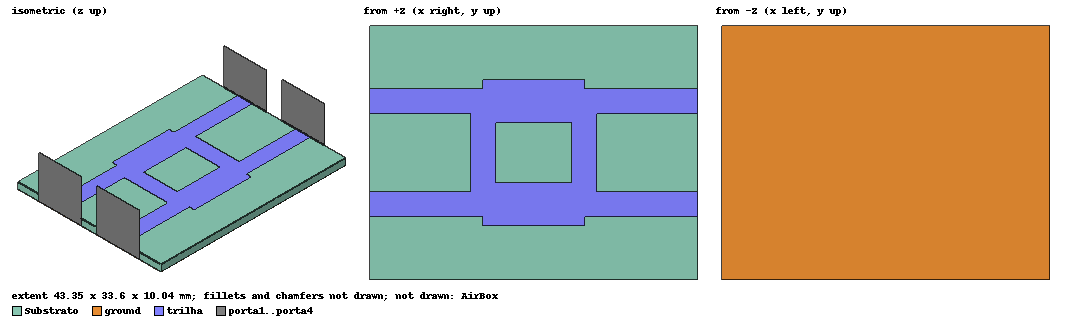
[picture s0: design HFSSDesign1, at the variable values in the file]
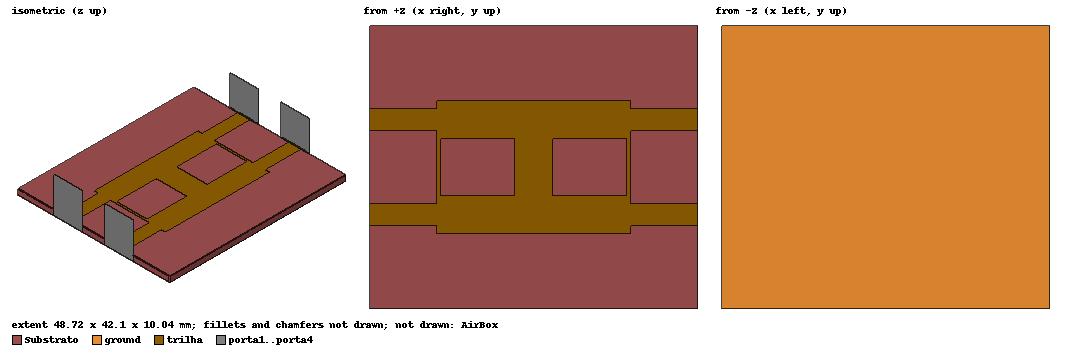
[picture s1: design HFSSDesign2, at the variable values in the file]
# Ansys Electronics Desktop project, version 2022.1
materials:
  vacuum: permittivity=1
  Rogers_3035: permittivity=3.6 permeability=1 dielectric_loss_tangent=0.0015
  copper: permeability=0.999991 conductivity=58000000

design HFSSDesign1 (HFSS, DrivenModal, model units mm)
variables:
  L_35 = 13.35mm
  L_port = 15mm
  L_50 = 13.6mm
  H_sub = 1.52mm
  T_cond = 0.035mm
  W_35 = 5.64mm
  W_50 = 3.36mm
  C_mitre = (W_35 - W_50)/2
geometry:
  Substrato [Rogers_3035] = box(corner=(-(L_35 + 2*L_port)/2, -(L_50 + 20mm)/2, 0mm), size=(L_35 + 2*L_port, L_50 + 20mm, -H_sub))
  ground [copper] = box(corner=(-(L_35 + 2*L_port)/2, -(L_50 + 20mm)/2, -H_sub), size=(L_35 + 2*L_port, L_50 + 20mm, -T_cond))
  Box1 = box(corner=(-L_35/2, L_50/2 - W_35/2, 0mm), size=(L_35, W_35, T_cond))
  Box2 = box(corner=(-L_35/2, -L_50/2 - W_35/2, 0mm), size=(L_35, W_35, T_cond))
  Box3 = box(corner=(-L_35/2 - W_50/2, -L_50/2, 0mm), size=(W_50, L_50, T_cond))
  Box4 = box(corner=(L_35/2 - W_50/2, -L_50/2, 0mm), size=(W_50, L_50, T_cond))
  Box5 = box(corner=(-L_35/2 - L_port, L_50/2 - W_50/2, 0mm), size=(L_port, W_50, T_cond))
  Box6 = box(corner=(L_35/2, L_50/2 - W_50/2, 0mm), size=(L_port, W_50, T_cond))
  Box7 = box(corner=(-L_35/2 - L_port, -L_50/2 - W_50/2, 0mm), size=(L_port, W_50, T_cond))
  trilha [copper] = box(corner=(L_35/2, -L_50/2 - W_50/2, 0mm), size=(L_port, W_50, T_cond))
  trilha.unite(Box2, Box3, Box7, Box5, Box1, Box4, Box6)
  trilha.chamfer(Edges=trilha.edge(9 of 12, 11 of 12, 12 of 12, 10 of 12) LeftDistance=C_mitre RightDistance=C_mitre ChamferType=Symmetric)
  porta1 = rectangle(corner=(-(L_35/2 + L_port), (L_50/2) - 5mm, -H_sub), y_size=10mm, z_size=10mm)
  porta2 = rectangle(corner=((L_35/2 + L_port), (L_50/2) - 5mm, -H_sub), y_size=10mm, z_size=10mm)
  porta3 = rectangle(corner=((L_35/2 + L_port), -(L_50/2) - 5mm, -H_sub), y_size=10mm, z_size=10mm)
  porta4 = rectangle(corner=(-(L_35/2 + L_port), -(L_50/2) - 5mm, -H_sub), y_size=10mm, z_size=10mm)
  AirBox [vacuum] = box(corner=(-(L_35 + 2*L_port)/2, -(L_50 + 20mm)/2, -H_sub), size=(L_35 + 2*L_port, L_50 + 20mm, 25mm))
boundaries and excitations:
  Rad1: Radiation Objects=AirBox
  PerfE2: Perfect E Objects=ground
  1: Wave Port Objects=porta1 NumModes=1 Modes{Mode1{IntLine{(-21.675, 6.8, -1.52) -> (-21.675, 6.8, 0)} CharImp=Zpi RenormImp=50ohm}}
  2: Wave Port Objects=porta4 NumModes=1 Modes{Mode1{IntLine{(-21.675, -6.8, -1.52) -> (-21.675, -6.8, 0)} CharImp=Zpi RenormImp=50ohm}}
  3: Wave Port Objects=porta2 NumModes=1 Modes{Mode1{IntLine{(21.675, 6.8, -1.52) -> (21.675, 6.8, 0)} CharImp=Zpi RenormImp=50ohm}}
  4: Wave Port Objects=porta3 NumModes=1 Modes{Mode1{IntLine{(21.675, -6.8, -1.52) -> (21.675, -6.8, 0)} CharImp=Zpi RenormImp=50ohm}}
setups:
  Setup1: HfssDriven Frequency=3.28GHz MaxDeltaS=0.02 MaximumPasses=20 MinimumPasses=1 MinimumConvergedPasses=1 PercentRefinement=30 BasisOrder=1 PortAccuracy=2 DrivenSolverType="Direct Solver"
    sweep Sweep: 2GHz to 4.5GHz step 0.01GHz; Type=Interpolating SaveFields InterpTolerance=0.5 InterpMaxSolns=250 InterpUsePortImped=false PassivityErrorTolerance=0.0001
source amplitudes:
  1:1: 1W 0deg
  2:1, 3:1, 4:1: 0W 0deg
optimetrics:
  ParametricSetup1: Parametric Sim._Setups=[Setup1]
    sweep L_35: LIN 14mm 17mm 0.5mm
    sweep L_50: LIN 14mm 17mm 0.5mm
    table edits: del(14mm, 16mm) del(14mm, 17mm) del(14.5mm, 17mm) del(15mm, 17mm) del(16mm, 14mm) del(17mm, 14mm) del(17mm, 14.5mm) del(17mm, 15mm)
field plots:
  Mag_E1: E Field in trilha on Setup1 : LastAdaptive at Freq=3.28GHz Phase=0deg
  Mag_E2: E Field on Setup1 : LastAdaptive at Freq=3.28GHz Phase=0deg
  Mag_H1: H Field on Setup1 : LastAdaptive at Freq=3.28GHz Phase=0deg
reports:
  S Parameter Plot 3: dB(S(3,1)), dB(S(4,1)), dB(S(1,1)), dB(S(2,1)), dB(S(1,2)), dB(S(3,2)) vs Freq on Setup1 : Sweep; markers m6 at 3.03GHz, m7 at 3.68GHz
  S Parameter Plot 5: cang_deg(S(3,1)), cang_deg(S(4,1)) vs Freq on Setup1 : Sweep; markers m1 at 3.23GHz, m2 at 3.26GHz, m3 at 3.29GHz, m4 at 3.28GHz, m5 at 3.29GHz, m6 at 3.3GHz, m7 at 3.28GHz

design HFSSDesign2 (HFSS, DrivenModal, model units mm)
options: Allow_Material_Override
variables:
  L_35 = 14.1mm
  L_port = 15mm
  L_50 = 14.1mm
  H_sub = 1.52mm
  T_cond = 0.035mm
  W_35 = 5.64mm
  W_50 = 3.36mm
  C_mitre = (W_35 - W_50)/2
  L_feed = 10mm
  W_129 = 0.52mm
  W_60 = 5.64mm
  W_49 = 5.64mm
  W_port = 8mm
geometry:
  Substrato [Rogers_3035] = box(corner=(-L_50 - W_129/2 - L_feed, -(L_35 + W_port + 20mm)/2, 0), size=(2*L_50 + W_129 + 2*L_feed, L_35 + W_port + 20mm, -H_sub))
  ground [copper] = box(corner=(-L_50 - W_129/2 - L_feed, -(L_35 + W_port + 20mm)/2, -H_sub), size=(2*L_50 + W_129 + 2*L_feed, L_35 + W_port + 20mm, -T_cond))
  porta1 = rectangle(corner=(-L_50 - W_129/2 - L_feed, L_35/2 - W_port/2, -H_sub), y_size=W_port, z_size=10mm)
  porta2 = rectangle(corner=(L_50 + W_129/2 + L_feed, L_35/2 - W_port/2, -H_sub), y_size=W_port, z_size=10mm)
  porta3 = rectangle(corner=(L_50 + W_129/2 + L_feed, -L_35/2 - W_port/2, -H_sub), y_size=W_port, z_size=10mm)
  porta4 = rectangle(corner=(-L_50 - W_129/2 - L_feed, -L_35/2 - W_port/2, -H_sub), y_size=W_port, z_size=10mm)
  AirBox [vacuum] = box(corner=(-L_50 - W_129/2 - L_feed, -(L_35 + W_port + 20mm)/2, -H_sub), size=(2*L_50 + W_129 + 2*L_feed, L_35 + W_port + 20mm, 25mm))
  trilha [copper] = box(corner=(-W_60/2, -L_35/2, 0), size=(W_60, L_35, T_cond))
  Box2 = box(corner=(-L_50 - W_129/2, -L_35/2, 0), size=(W_129, L_35, T_cond))
  Box3 = box(corner=(L_50 - W_129/2, -L_35/2, 0), size=(W_129, L_35, T_cond))
  Box4 = box(corner=(-L_50 - W_129/2, L_35/2 - W_49/2, 0), size=(2*L_50 + W_129, W_49, T_cond))
  Box5 = box(corner=(-L_50 - W_129/2, -L_35/2 - W_49/2, 0), size=(2*L_50 + W_129, W_49, T_cond))
  Box6 = box(corner=(-L_50 - W_129/2 - L_feed, L_35/2 - W_50/2, 0), size=(L_feed, W_50, T_cond))
  Box7 = box(corner=(-L_50 - W_129/2 - L_feed, -L_35/2 - W_50/2, 0), size=(L_feed, W_50, T_cond))
  Box8 = box(corner=(L_50 + W_129/2, L_35/2 - W_50/2, 0), size=(L_feed, W_50, T_cond))
  Box9 = box(corner=(L_50 + W_129/2, -L_35/2 - W_50/2, 0), size=(L_feed, W_50, T_cond))
  trilha.unite(Box2..Box9)
  trilha.chamfer(Edges=trilha.edge(11 of 12) LeftDistance=C_mitre RightDistance=C_mitre ChamferType=Symmetric)
  trilha.chamfer(Edges=trilha.edge(12 of 12) LeftDistance=C_mitre RightDistance=C_mitre ChamferType=Symmetric)
  trilha.chamfer(Edges=trilha.edge(9 of 12) LeftDistance=C_mitre RightDistance=C_mitre ChamferType=Symmetric)
  trilha.chamfer(Edges=trilha.edge(10 of 12) LeftDistance=C_mitre RightDistance=C_mitre ChamferType=Symmetric)
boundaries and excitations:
  Rad1: Radiation Objects=AirBox
  PerfE2: Perfect E Objects=ground
  1: Wave Port Objects=porta1 NumModes=1 Modes{Mode1{CharImp=Zpi RenormImp=50ohm}}
  2: Wave Port Objects=porta4 NumModes=1 Modes{Mode1{CharImp=Zpi RenormImp=50ohm}}
  3: Wave Port Objects=porta2 NumModes=1 Modes{Mode1{CharImp=Zpi RenormImp=50ohm}}
  4: Wave Port Objects=porta3 NumModes=1 Modes{Mode1{CharImp=Zpi RenormImp=50ohm}}
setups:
  Setup1: HfssDriven Frequency=3.28GHz MaxDeltaS=0.02 MaximumPasses=20 MinimumPasses=1 MinimumConvergedPasses=1 PercentRefinement=30 BasisOrder=1 PortAccuracy=2 DrivenSolverType="Direct Solver"
    sweep Sweep: 2GHz to 4.5GHz step 0.01GHz; Type=Interpolating SaveFields InterpTolerance=0.5 InterpMaxSolns=250 InterpUsePortImped=false PassivityErrorTolerance=0.0001
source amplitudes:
  1:1: 1W 0deg
  2:1, 3:1, 4:1: 0W 0deg
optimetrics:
  ParametricSetup1: Parametric Sim._Setups=[Setup1]
    sweep L_50: LIN 14mm 16mm 0.5mm
    sweep L_35: LIN 14mm 16mm 0.5mm
    table edits: del(16mm, 14mm) del(15mm, 16mm) del(14mm, 16mm)
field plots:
  Mag_E2: E Field in Substrato on Setup1 : LastAdaptive at Freq=3.28GHz Phase=0deg
  Mag_H1: H Field in Substrato on Setup1 : LastAdaptive at Freq=3.28GHz Phase=0deg
  Mag_E1, Mag_E3, Mag_E4: E Field over trilha.face(1 of 6) on Setup1 : LastAdaptive at Freq=3.28GHz Phase=0deg
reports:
  S Parameter Plot 12: dB(S(1,1)), dB(S(2,1)), dB(S(3,1)), dB(S(4,1)), dB(S(4,3)) vs Freq on Setup1 : Sweep
  S Parameter Plot 13: dB(S(1,1)), dB(S(2,1)), dB(S(3,1)), dB(S(4,1)), dB(S(4,3)) vs Freq on Setup1 : Sweep; markers m1 at 3.31GHz, m2 at 3.3GHz, m3 at 3.29GHz, m4 at 3.27GHz, m5 at 3.35GHz, m6 at 2.99GHz, m7 at 3.24GHz, m8 at 3.4GHz
  S Parameter Plot 14: dB(S(1,1)), dB(S(2,1)), dB(S(3,1)), dB(S(4,1)), dB(S(4,3)) vs Freq on Setup1 : Sweep
